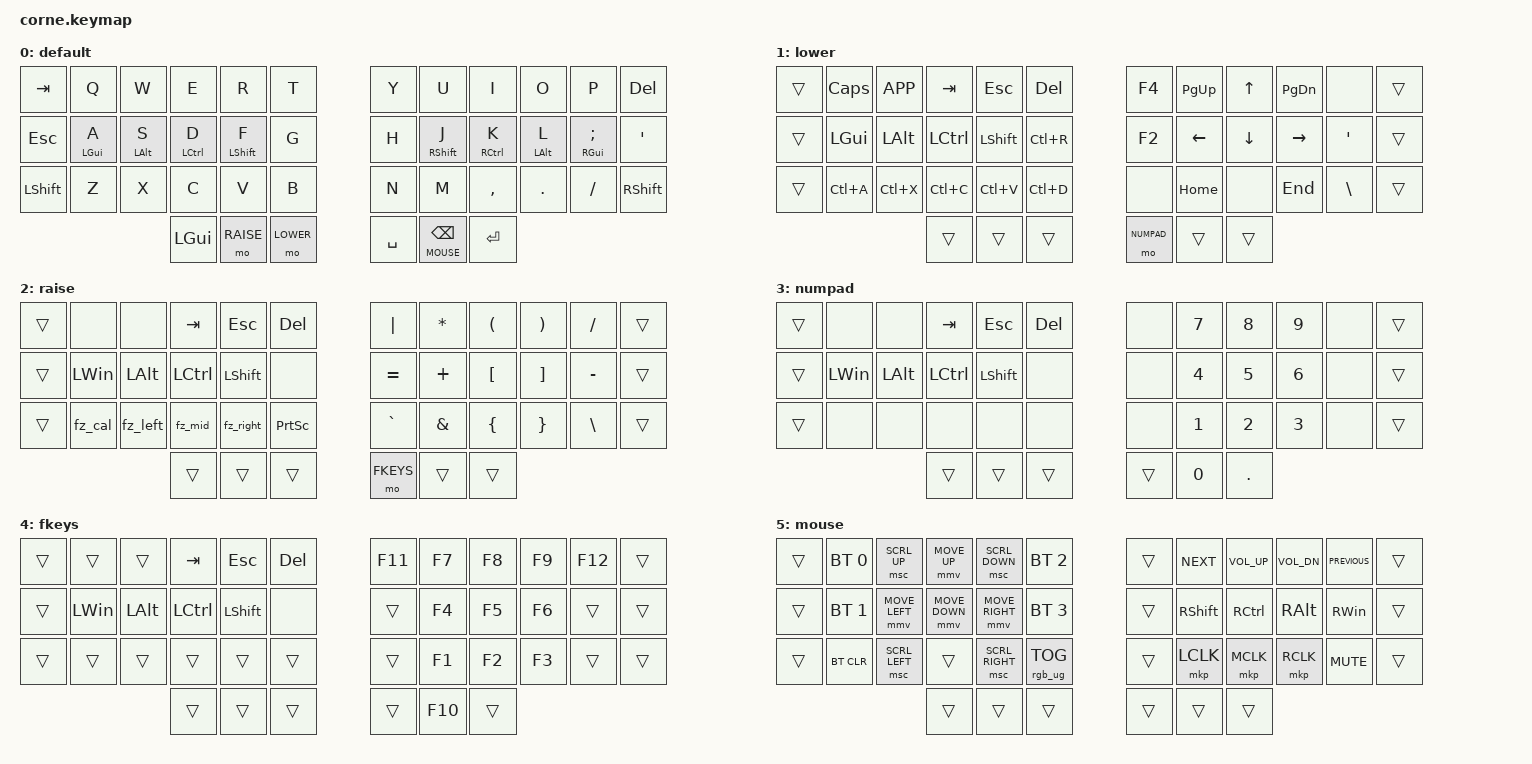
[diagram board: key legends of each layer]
/*
 * Copyright (c) 2020 The ZMK Contributors
 *
 * SPDX-License-Identifier: MIT
 */

#include <dt-bindings/zmk/mouse.h>

// Mouse speed configuration (MUST be placed BEFORE include pointing.h)

#define ZMK_POINTING_DEFAULT_MOVE_VAL 1000  // Movement speed (default: 600)
#define ZMK_POINTING_DEFAULT_SCRL_VAL 20    // Scroll speed (default: 10)

#include <behaviors.dtsi>
#include <dt-bindings/zmk/bt.h>
#include <dt-bindings/zmk/keys.h>
#include <dt-bindings/zmk/pointing.h>
#include <dt-bindings/zmk/rgb.h>

#define BASE 0
#define LOWER 1
#define RAISE 2
#define NUMPAD 3
#define FKEYS 4
#define MOUSE 5

/*
 * Corne key positions (42 keys):
 *
 *  0   1   2   3   4   5      6   7   8   9  10  11
 * 12  13  14  15  16  17     18  19  20  21  22  23
 * 24  25  26  27  28  29     30  31  32  33  34  35
 *                 36  37  38     39  40  41
 */

/ {
    behaviors {
        space_layer: space_layer_tap {
            compatible = "zmk,behavior-hold-tap";
            #binding-cells = <2>;
            flavor = "balanced";
            tapping-term-ms = <200>;
            quick-tap-ms = <150>;
            bindings = <&mo>, <&kp>;
        };

        // Home Row Mod for LEFT HAND
        hml: home_row_mod_left {
            compatible = "zmk,behavior-hold-tap";
            #binding-cells = <2>;
            flavor = "balanced";
            tapping-term-ms = <280>;
            quick-tap-ms = <175>;
            require-prior-idle-ms = <150>;
            bindings = <&kp>, <&kp>;

            hold-trigger-key-positions = <
                6  7  8  9  10 11
                18 19 20 21 22 23
                30 31 32 33 34 35
                39 40 41
            >;

            hold-trigger-on-release;
        };

        // Home Row Mod for RIGHT HAND
        hmr: home_row_mod_right {
            compatible = "zmk,behavior-hold-tap";
            #binding-cells = <2>;
            flavor = "balanced";
            tapping-term-ms = <280>;
            quick-tap-ms = <175>;
            require-prior-idle-ms = <150>;
            bindings = <&kp>, <&kp>;

            hold-trigger-key-positions = <
                0  1  2  3  4  5
                12 13 14 15 16 17
                24 25 26 27 28 29
                36 37 38
            >;

            hold-trigger-on-release;
        };
    };

    macros {
        // FancyZones: Win+Ctrl+Alt+1 (snap window left)
        fz_left: fz_left {
            label = "FZ_LEFT";
            compatible = "zmk,behavior-macro";
            #binding-cells = <0>;
            bindings =
                <&macro_press>, <&kp LGUI>,
                <&macro_press>, <&kp LCTRL>,
                <&macro_press>, <&kp LALT>,
                <&macro_tap>, <&kp N1>,
                <&macro_release>, <&kp LALT>,
                <&macro_release>, <&kp LCTRL>,
                <&macro_release>, <&kp LGUI>;
        };

        // FancyZones: Win+Ctrl+Alt+2 (snap window center)
        fz_mid: fz_mid {
            label = "FZ_MID";
            compatible = "zmk,behavior-macro";
            #binding-cells = <0>;
            bindings =
                <&macro_press>, <&kp LGUI>,
                <&macro_press>, <&kp LCTRL>,
                <&macro_press>, <&kp LALT>,
                <&macro_tap>, <&kp N2>,
                <&macro_release>, <&kp LALT>,
                <&macro_release>, <&kp LCTRL>,
                <&macro_release>, <&kp LGUI>;
        };

        // FancyZones: Win+Ctrl+Alt+3 (snap window right)
        fz_right: fz_right {
            label = "FZ_RIGHT";
            compatible = "zmk,behavior-macro";
            #binding-cells = <0>;
            bindings =
                <&macro_press>, <&kp LGUI>,
                <&macro_press>, <&kp LCTRL>,
                <&macro_press>, <&kp LALT>,
                <&macro_tap>, <&kp N3>,
                <&macro_release>, <&kp LALT>,
                <&macro_release>, <&kp LCTRL>,
                <&macro_release>, <&kp LGUI>;
        };

        // Calculator: Win+R then type "calc" + Enter
        fz_cal: fz_cal {
            label = "FZ_CAL";
            compatible = "zmk,behavior-macro";
            #binding-cells = <0>;
            bindings =
                <&macro_press>, <&kp LGUI>,
                <&macro_tap>, <&kp R>,
                <&macro_release>, <&kp LGUI>,
                <&macro_pause_for_release>,
                <&macro_tap>, <&kp C>,
                <&macro_tap>, <&kp A>,
                <&macro_tap>, <&kp L>,
                <&macro_tap>, <&kp C>,
                <&macro_tap>, <&kp ENTER>;
        };

        // Tap dances: single tap = number, double tap = F-key
        td_1: tap_dance_1 {
            compatible = "zmk,behavior-tap-dance";
            #binding-cells = <0>;
            tapping-term-ms = <180>;
            bindings = <&kp N1>, <&kp F1>;
        };

        td_2: tap_dance_2 {
            compatible = "zmk,behavior-tap-dance";
            #binding-cells = <0>;
            tapping-term-ms = <180>;
            bindings = <&kp N2>, <&kp F2>;
        };

        td_3: tap_dance_3 {
            compatible = "zmk,behavior-tap-dance";
            #binding-cells = <0>;
            tapping-term-ms = <180>;
            bindings = <&kp N3>, <&kp F3>;
        };

        td_4: tap_dance_4 {
            compatible = "zmk,behavior-tap-dance";
            #binding-cells = <0>;
            tapping-term-ms = <180>;
            bindings = <&kp N4>, <&kp F4>;
        };

        td_5: tap_dance_5 {
            compatible = "zmk,behavior-tap-dance";
            #binding-cells = <0>;
            tapping-term-ms = <180>;
            bindings = <&kp N5>, <&kp F5>;
        };

        td_6: tap_dance_6 {
            compatible = "zmk,behavior-tap-dance";
            #binding-cells = <0>;
            tapping-term-ms = <180>;
            bindings = <&kp N6>, <&kp F6>;
        };

        td_7: tap_dance_7 {
            compatible = "zmk,behavior-tap-dance";
            #binding-cells = <0>;
            tapping-term-ms = <180>;
            bindings = <&kp N7>, <&kp F7>;
        };

        td_8: tap_dance_8 {
            compatible = "zmk,behavior-tap-dance";
            #binding-cells = <0>;
            tapping-term-ms = <180>;
            bindings = <&kp N8>, <&kp F8>;
        };

        td_9: tap_dance_9 {
            compatible = "zmk,behavior-tap-dance";
            #binding-cells = <0>;
            tapping-term-ms = <180>;
            bindings = <&kp N9>, <&kp F9>;
        };

        td_0: tap_dance_0 {
            compatible = "zmk,behavior-tap-dance";
            #binding-cells = <0>;
            tapping-term-ms = <180>;
            bindings = <&kp N0>, <&kp F10>;
        };
    };

    keymap {
        compatible = "zmk,keymap";

        // =====================================================================
        // Layer 0: DEFAULT (QWERTY + Home Row Mods)
        // =====================================================================
        // |  TAB |  Q  |  W  |  E  |  R  |  T  |   |  Y  |  U  |  I  |  O  |  P  | DEL  |
        // |  ESC |  A  |  S  |  D  |  F  |  G  |   |  H  |  J  |  K  |  L  |  ;  |  '   |
        // | SHFT |  Z  |  X  |  C  |  V  |  B  |   |  N  |  M  |  ,  |  .  |  /  | SHFT |
        //                    | GUI | RSE | LWR |   | SPC | MOUSE/BSPC | ENT |
        //
        // Home row mods (GACS):
        //   A=LGUI  S=LALT  D=LCTRL  F=LSHFT
        //   J=RSHFT K=RCTRL L=LALT   ;=RGUI

        default_layer {
            label = "default";
            bindings = <
&kp TAB    &kp Q        &kp W        &kp E         &kp R         &kp T          &kp Y      &kp U         &kp I         &kp O            &kp P           &kp DELETE
&kp ESC    &hml LGUI A  &hml LALT S  &hml LCTRL D  &hml LSHFT F  &kp G          &kp H      &hmr RSHFT J  &hmr RCTRL K  &hmr LEFT_ALT L  &hmr RGUI SEMI  &kp SQT
&kp LSHFT  &kp Z        &kp X        &kp C         &kp V         &kp B          &kp N      &kp M         &kp COMMA     &kp DOT          &kp FSLH        &kp RSHFT
                                      &kp LGUI      &mo RAISE     &mo LOWER      &kp SPACE  &lt MOUSE BACKSPACE  &kp ENTER
            >;
        };

        // =====================================================================
        // Layer 1: ARROW / LOWER (navigation + editing shortcuts)
        // =====================================================================
        // | TRANS| CAPS|K_APP| TAB | ESC | DEL |   |  F4 | PGUP|  UP | PGDN| NONE| TRANS|
        // | TRANS| LGUI| LALT|LCTRL| LSFT|CT(R)|   |  F2 | LEFT| DOWN|RIGHT|  '  | TRANS|
        // | TRANS|CT(A)|CT(X)|CT(C)|CT(V)|CT(D)|   | NONE| HOME| NONE| END |  \  | TRANS|
        //                    |TRANS|TRANS|TRANS|   | MO3 |TRANS| TRANS|

        arrow_layer {
            label = "lower";
            bindings = <
&trans  &kp CAPS   &kp K_APP     &kp TAB    &kp ESCAPE      &kp DELETE       &kp F4   &kp PG_UP       &kp UP_ARROW    &kp PAGE_DOWN  &none          &trans
&trans  &kp LGUI   &kp LEFT_ALT  &kp LCTRL  &kp LEFT_SHIFT  &kp LC(R)        &kp F2   &kp LEFT_ARROW  &kp DOWN_ARROW  &kp RIGHT      &kp SQT        &trans
&trans  &kp LC(A)  &kp LC(X)     &kp LC(C)  &kp LC(V)       &kp LC(D)        &none    &kp HOME        &none           &kp END        &kp BACKSLASH  &trans
                                  &trans     &trans          &trans           &mo NUMPAD  &trans       &trans
            >;
        };

        // =====================================================================
        // Layer 2: SYMBOLS / RAISE (symbols, brackets, FancyZones macros)
        // =====================================================================
        // | TRANS| NONE| NONE| TAB | ESC | DEL |   |  |  |  *  |  (  |  )  |  /  | TRANS|
        // | TRANS| LWIN| LALT|LCTRL| LSFT| NONE|   |  =  |  +  |  [  |  ]  |  -  | TRANS|
        // | TRANS| CALC|FZ_L |FZ_M |FZ_R |PSCRN|   |  `  |  &  |  {  |  }  |  \  | TRANS|
        //                    |TRANS|TRANS|TRANS|   | MO4 |TRANS| TRANS|

        symbols_layer {
            label = "raise";
            bindings = <
&trans  &none     &none         &kp TAB    &kp ESC         &kp DELETE          &kp PIPE   &kp ASTERISK   &kp LEFT_PARENTHESIS  &kp RIGHT_PARENTHESIS  &kp SLASH  &trans
&trans  &kp LWIN  &kp LEFT_ALT  &kp LCTRL  &kp LEFT_SHIFT  &none               &kp EQUAL  &kp PLUS       &kp LEFT_BRACKET      &kp RIGHT_BRACKET      &kp MINUS  &trans
&trans  &fz_cal   &fz_left      &fz_mid    &fz_right       &kp PRINTSCREEN     &kp GRAVE  &kp AMPERSAND  &kp LEFT_BRACE        &kp RIGHT_BRACE        &kp BSLH   &trans
                                &trans     &trans          &trans              &mo FKEYS  &trans         &trans
            >;
        };

        // =====================================================================
        // Layer 3: NUMPAD (activated from LOWER + SPACE)
        // =====================================================================
        // | TRANS| NONE| NONE| TAB | ESC | DEL |   | NONE|  7  |  8  |  9  | NONE| TRANS|
        // | TRANS| LWIN| LALT|LCTRL| LSFT| NONE|   | NONE|  4  |  5  |  6  | NONE| TRANS|
        // | TRANS| NONE| NONE| NONE| NONE| NONE|   | NONE|  1  |  2  |  3  | NONE| TRANS|
        //                    |TRANS|TRANS|TRANS|   |TRANS|  0  | DOT |

        numpad_layer {
            label = "numpad";
            bindings = <
&trans  &none     &none         &kp TAB    &kp ESCAPE      &kp DELETE      &none   &kp NUMBER_7  &kp NUMBER_8  &kp NUMBER_9  &none  &trans
&trans  &kp LWIN  &kp LEFT_ALT  &kp LCTRL  &kp LEFT_SHIFT  &none           &none   &kp NUMBER_4  &kp NUMBER_5  &kp NUMBER_6  &none  &trans
&trans  &none     &none         &none      &none           &none           &none   &kp NUMBER_1  &kp NUMBER_2  &kp NUMBER_3  &none  &trans
                                &trans     &trans          &trans          &trans  &kp NUMBER_0  &kp DOT
            >;
        };

        // =====================================================================
        // Layer 4: F-KEYS (activated from RAISE + SPACE)
        // =====================================================================
        // | TRANS|TRANS|TRANS| TAB | ESC | DEL |   | F11 |  F7 |  F8 |  F9 | F12 | TRANS|
        // | TRANS| LWIN| LALT|LCTRL| LSFT| NONE|   |TRANS|  F4 |  F5 |  F6 |TRANS| TRANS|
        // | TRANS|TRANS|TRANS|TRANS|TRANS|TRANS|   |TRANS|  F1 |  F2 |  F3 |TRANS| TRANS|
        //                    |TRANS|TRANS|TRANS|   |TRANS| F10 |TRANS|

        f_layout {
            label = "fkeys";
            bindings = <
&trans  &trans    &trans        &kp TAB    &kp ESC         &kp DELETE      &kp F11  &kp F7   &kp F8  &kp F9  &kp F12  &trans
&trans  &kp LWIN  &kp LEFT_ALT  &kp LCTRL  &kp LEFT_SHIFT  &none           &trans   &kp F4   &kp F5  &kp F6  &trans   &trans
&trans  &trans    &trans        &trans     &trans          &trans          &trans   &kp F1   &kp F2  &kp F3  &trans   &trans
                                &trans     &trans          &trans          &trans   &kp F10  &trans
            >;
        };

        // =====================================================================
        // Layer 5: MOUSE (activated by holding BACKSPACE on base layer)
        // =====================================================================
        // | TRANS| BT0 |SCR_U|MV_UP|SCR_D| BT2 |   |TRANS|NEXT |VOL+|VOL- |PREV | TRANS|
        // | TRANS| BT1 |MV_L |MV_DN|MV_R | BT3 |   |TRANS|RSFT |RCTL|RALT |RWIN | TRANS|
        // | TRANS|BTCLR|SCR_L|TRANS|SCR_R|RGBTOG|   |TRANS|LCLK |MCLK|RCLK |MUTE | TRANS|
        //                    |TRANS|TRANS|TRANS|   |TRANS|TRANS|TRANS|

        mouse_layout {
            label = "mouse";
            bindings = <
&trans  &bt BT_SEL 0  &msc SCRL_UP    &mmv MOVE_UP    &msc SCRL_DOWN   &bt BT_SEL 2          &trans  &kp C_NEXT  &kp C_VOL_UP  &kp C_VOL_DN   &kp C_PREVIOUS  &trans
&trans  &bt BT_SEL 1  &mmv MOVE_LEFT  &mmv MOVE_DOWN  &mmv MOVE_RIGHT  &bt BT_SEL 3          &trans  &kp RSHFT   &kp RCTRL     &kp RIGHT_ALT  &kp RIGHT_WIN   &trans
&trans  &bt BT_CLR    &msc SCRL_LEFT  &trans          &msc SCRL_RIGHT  &rgb_ug RGB_TOG       &trans  &mkp LCLK   &mkp MCLK     &mkp RCLK      &kp C_MUTE      &trans
                                      &trans          &trans           &trans                &trans  &trans      &trans
            >;
        };
    };
};
